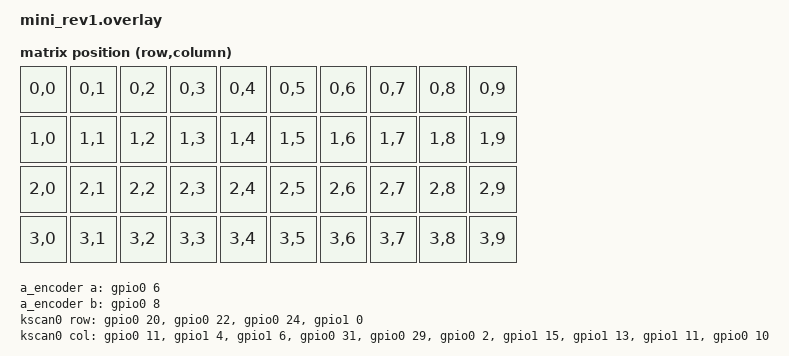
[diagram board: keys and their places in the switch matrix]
#include <dt-bindings/zmk/matrix_transform.h> // Put this with the other includes at the top of your overlay

#include <dt-bindings/zmk/matrix_transform.h>

#include <dt-bindings/zmk/matrix_transform.h>


/ {
    chosen {
        zmk,physical-layout = &physical_layout0;
        // Other chosen items
    };
    
    a_encoder: encoder_a {
        compatible = "alps,ec11";
        a-gpios = <&gpio0 6 (GPIO_ACTIVE_LOW)>;
        b-gpios = <&gpio0 8 (GPIO_ACTIVE_LOW)>;
        steps = <80>;
        status = "disabled";
    };

    sensors: sensors {
        compatible = "zmk,keymap-sensors";
        sensors = <&a_encoder>;
        triggers-per-rotation = <20>;
    };

    kscan0: kscan0 {
        compatible = "zmk,kscan-gpio-matrix";
        diode-direction = "col2row";
        wakeup-source;

        col-gpios
            = <&gpio0 11 GPIO_ACTIVE_HIGH>
            , <&gpio1  4 GPIO_ACTIVE_HIGH>
            , <&gpio1  6 GPIO_ACTIVE_HIGH>
            , <&gpio0 31 GPIO_ACTIVE_HIGH>
            , <&gpio0 29 GPIO_ACTIVE_HIGH>
            , <&gpio0  2 GPIO_ACTIVE_HIGH>
            , <&gpio1 15 GPIO_ACTIVE_HIGH>
            , <&gpio1 13 GPIO_ACTIVE_HIGH>
            , <&gpio1 11 GPIO_ACTIVE_HIGH>
            , <&gpio0 10 GPIO_ACTIVE_HIGH>
            ;

        row-gpios
            = <&gpio0 20 (GPIO_ACTIVE_HIGH | GPIO_PULL_DOWN)>
            , <&gpio0 22 (GPIO_ACTIVE_HIGH | GPIO_PULL_DOWN)>
            , <&gpio0 24 (GPIO_ACTIVE_HIGH | GPIO_PULL_DOWN)>
            , <&gpio1  0 (GPIO_ACTIVE_HIGH | GPIO_PULL_DOWN)>
            ;
    };

    default_transform: keymap_transform0 {
        compatible = "zmk,matrix-transform";
        columns = <10>;
        rows = <4>;

        // q       w       e       r       t       y       u       i       o       p
        // a       s       d       f       g       h       j       k       l       Enter
        // Shift   z       x       c       v       b       n       m       Fn1     Fn2
        // Media   —       —       —       Space   Space   —       —       —       —
        map = <
          RC(0,0) RC(0,1) RC(0,2) RC(0,3) RC(0,4) RC(0,5) RC(0,6) RC(0,7) RC(0,8) RC(0,9)
          RC(1,0) RC(1,1) RC(1,2) RC(1,3) RC(1,4) RC(1,5) RC(1,6) RC(1,7) RC(1,8) RC(1,9)
          RC(2,0) RC(2,1) RC(2,2) RC(2,3) RC(2,4) RC(2,5) RC(2,6) RC(2,7) RC(2,8) RC(2,9)
          RC(3,0) RC(3,1) RC(3,2) RC(3,3) RC(3,4) RC(3,5) RC(3,6) RC(3,7) RC(3,8) RC(3,9)
        >;
    };

    physical_layout0: physical_layout_0 { // First physical layout, use different naming for other layouts
        compatible = "zmk,physical-layout";
        display-name = "Default Layout";
        kscan = <&kscan0>; // Label of the kscan node, optional if all layouts use the same
        transform = <&default_transform>; // Label of the matrix transform for this layout
    };
};

&a_encoder {
  status = "okay";
};
